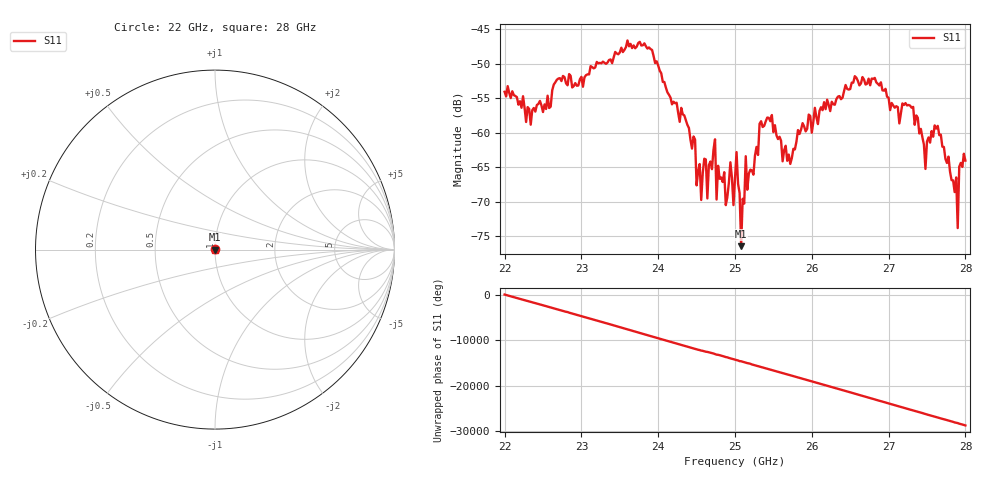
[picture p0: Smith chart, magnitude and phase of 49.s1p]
#  HZ  S  RI  R  50.00
! Rohde & Schwarz ZVA40 4Ports - Version 3.90 - 1145.1110k42 SN: 100403
! Date: 2023-10-04 08:50:39
! Measurement: S12
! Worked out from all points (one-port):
!   301 points, 22 GHz to 28 GHz, reference 50 ohm
!   lowest |S11| = -76.4 dB at 25.08 GHz (marker M1), VSWR 1.00, Z = 50 + j0.013 ohm
!   |S11| at or under -10 dB: start of sweep to end of sweep
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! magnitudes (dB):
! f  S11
! 22 GHz  -54.1
! 22.34 GHz  -58.8
! 22.76 GHz  -51.8
! 23.5 GHz  -48.4
! 23.92 GHz  -48.0
! 24.26 GHz  -57.1
! 24.48 GHz  -61.0
! 24.5 GHz  -67.6
! 24.56 GHz  -69.7
! 24.74 GHz  -61.0
! 24.76 GHz  -69.7
! 24.78 GHz  -64.8
! 24.88 GHz  -70.5
! 25 GHz  -66.7
! 25.02 GHz  -62.8
! 25.08 GHz  -76.4
! 25.14 GHz  -63.4
! 25.16 GHz  -68.3
! 25.32 GHz  -58.7
! 25.76 GHz  -62.3
! 26.5 GHz  -53.7
! 27.26 GHz  -56.0
! 27.48 GHz  -65.3
! 27.64 GHz  -59.0
! 27.88 GHz  -66.5
! 27.9 GHz  -73.8
! 27.92 GHz  -64.9
! 28 GHz  -64.0
